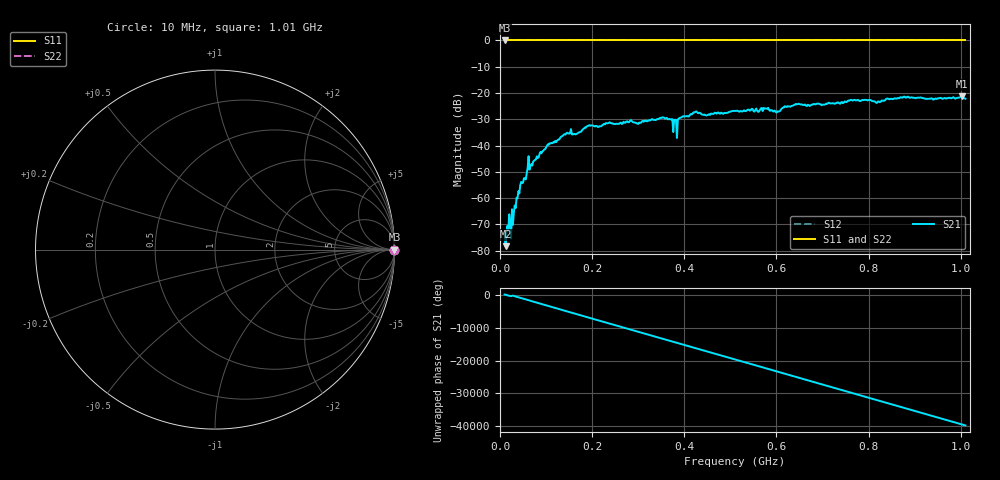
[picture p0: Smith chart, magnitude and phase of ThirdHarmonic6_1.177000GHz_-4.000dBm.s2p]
! 8/16/2025 11:58:45 AM
! C:\ANRITSUVNA\TEMP\TEMP.S2P
! CHANNEL.1
! TR.MEASUREMENT
! RAW.DATA
! RF.CORRECTION.OFF
! AVERAGING.OFF
! IF.BANDWIDTH: 5KHZ
! SWEEPTYPE:  FREQ.SWEEP(Linear)
! Reference Plane Port Info
! PORT:  PORT1  PORT2
! DISTANCE:  0  m  0  m
! TIME:  0  s  0  s
! PHASE.OFFSET:  0  deg.  0  deg.
! LOSS:  0  dB  0  dB
! REF.LOSS:  0  dB  0  dB
! REF.FREQ:  0  Hz  0  Hz
! Power Info
! POWER:  -20  dBm  -20  dBm
! EFF.POWER:  -20  dBm  -20  dBm
! SOURCE.ATTEN:  0  dB  0  dB
! TEST.ATTEN:  0  dB  0  dB
# GHZ S RI R 50.0
! FREQ.GHZ  S11RE  S11IM  S21RE  S21IM  S12RE  S12IM  S22RE  S22IM
!; PortSelection: Port_12
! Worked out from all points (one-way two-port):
!   501 points, 10 MHz to 1.01 GHz, reference 50 ohm
!   highest |S21| = -21.27 dB at 1.002 GHz (marker M1); lowest = -78.3 dB at 12 MHz (marker M2)
!   lowest |S11| = 0.0 dB at 10 MHz (marker M3)
!   |S11| at or under -10 dB: nowhere
!   |S22| runs from 0.0 to 0.0 dB; largest |S21 - S12| = 1.1
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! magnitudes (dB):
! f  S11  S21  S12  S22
! 10 MHz  0.0  -73.1  0.0  0.0
! 12 MHz  0.0  -78.3  0.0  0.0
! 26 MHz  0.0  -64.2  0.0  0.0
! 44 MHz  0.0  -54.9  0.0  0.0
! 64 MHz  0.0  -49.2  0.0  0.0
! 106 MHz  0.0  -39.6  0.0  0.0
! 142 MHz  0.0  -35.8  0.0  0.0
! 178 MHz  0.0  -34.2  0.0  0.0
! 194 MHz  0.0  -32.2  0.0  0.0
! 344 MHz  0.0  -29.9  0.0  0.0
! 370 MHz  0.0  -30.0  0.0  0.0
! 380 MHz  0.0  -30.2  0.0  0.0
! 390 MHz  0.0  -29.5  0.0  0.0
! 424 MHz  0.0  -27.2  0.0  0.0
! 446 MHz  0.0  -28.4  0.0  0.0
! 510 MHz  0.0  -26.8  0.0  0.0
! 602 MHz  0.0  -27.0  0.0  0.0
! 644 MHz  0.0  -24.3  0.0  0.0
! 678 MHz  0.0  -24.4  0.0  0.0
! 844 MHz  0.0  -22.3  0.0  0.0
! 1.002 GHz  0.0  -21.3  0.0  0.0
! 1.01 GHz  0.0  -22.2  0.0  0.0
